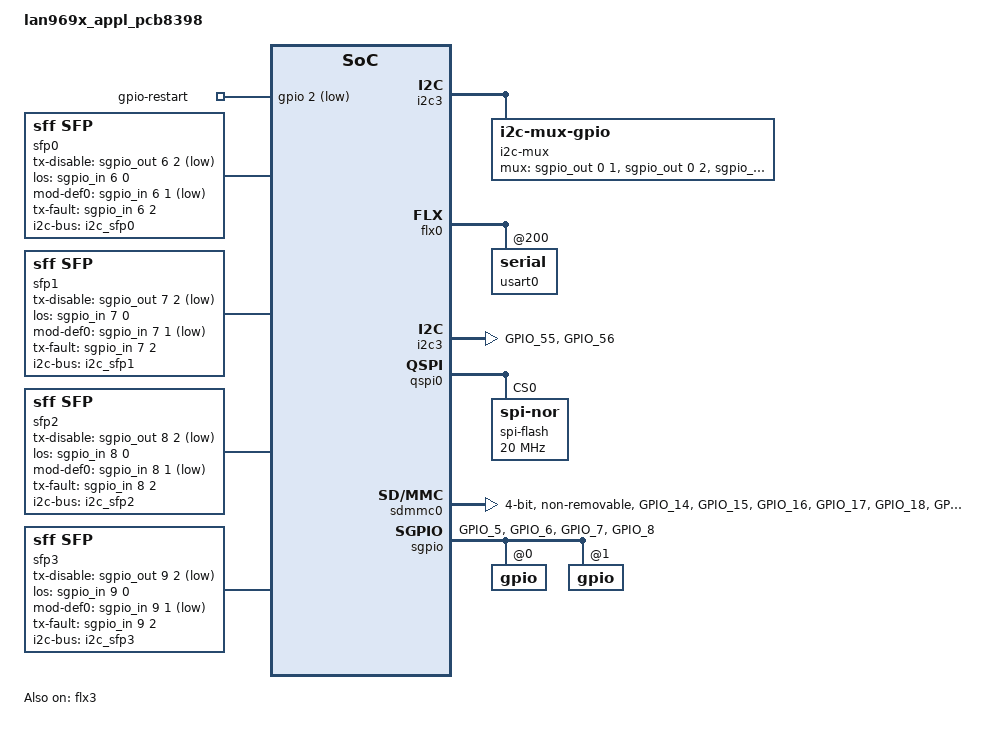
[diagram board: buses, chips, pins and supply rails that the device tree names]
// SPDX-License-Identifier: (GPL-2.0+ OR MIT)

/*
 * Copyright (c) 2022 Microchip Technology Inc. and its subsidiaries.
 */

/dts-v1/;

#include "lan969x.dtsi"

/ {
	model = "lan969x_appl_pcb8398";
	aliases {
		serial0 = &usart0;
	};

	chosen {
		stdout-path = "serial0:115200n8";
	};

	gpio-restart {
		compatible = "gpio-restart";
		gpios = <&gpio 2 GPIO_ACTIVE_LOW>;
		priority = <200>;
	};

	i2c-mux {
		compatible = "i2c-mux-gpio";
		#address-cells = <1>;
		#size-cells = <0>;
		i2c-parent = <&i2c3>;

		mux-gpios = <&sgpio_out 0 1 GPIO_ACTIVE_HIGH
			     &sgpio_out 0 2 GPIO_ACTIVE_HIGH
			     &sgpio_out 0 3 GPIO_ACTIVE_HIGH>;
		idle-state = <0x8>;

		i2c_sfp0: i2c-sfp0 {
			reg = <0x0>;
		};

		i2c_sfp1: i2c-sfp1 {
			reg = <0x1>;
		};

		i2c_sfp2: i2c-sfp2 {
			reg = <0x2>;
		};

		i2c_sfp3: i2c_sfp3 {
			reg = <0x3>;
		};
	};

	sfp0: sfp0 {
		compatible = "sff,sfp";
		i2c-bus = <&i2c_sfp0>;
		tx-disable-gpios = <&sgpio_out 6 2 GPIO_ACTIVE_LOW>;
		los-gpios = <&sgpio_in 6 0 GPIO_ACTIVE_HIGH>;
		mod-def0-gpios = <&sgpio_in 6 1 GPIO_ACTIVE_LOW>;
		tx-fault-gpios = <&sgpio_in 6 2 GPIO_ACTIVE_HIGH>;
	};

	sfp1: sfp1 {
		compatible = "sff,sfp";
		i2c-bus = <&i2c_sfp1>;
		tx-disable-gpios = <&sgpio_out 7 2 GPIO_ACTIVE_LOW>;
		los-gpios = <&sgpio_in 7 0 GPIO_ACTIVE_HIGH>;
		mod-def0-gpios = <&sgpio_in 7 1 GPIO_ACTIVE_LOW>;
		tx-fault-gpios = <&sgpio_in 7 2 GPIO_ACTIVE_HIGH>;
	};

	sfp2: sfp2 {
		compatible = "sff,sfp";
		i2c-bus = <&i2c_sfp2>;
		tx-disable-gpios = <&sgpio_out 8 2 GPIO_ACTIVE_LOW>;
		los-gpios = <&sgpio_in 8 0 GPIO_ACTIVE_HIGH>;
		mod-def0-gpios = <&sgpio_in 8 1 GPIO_ACTIVE_LOW>;
		tx-fault-gpios = <&sgpio_in 8 2 GPIO_ACTIVE_HIGH>;
	};

	sfp3: sfp3 {
		compatible = "sff,sfp";
		i2c-bus = <&i2c_sfp3>;
		tx-disable-gpios = <&sgpio_out 9 2 GPIO_ACTIVE_LOW>;
		los-gpios = <&sgpio_in 9 0 GPIO_ACTIVE_HIGH>;
		mod-def0-gpios = <&sgpio_in 9 1 GPIO_ACTIVE_LOW>;
		tx-fault-gpios = <&sgpio_in 9 2 GPIO_ACTIVE_HIGH>;
	};
};

&flx0 {
	atmel,flexcom-mode = <ATMEL_FLEXCOM_MODE_USART>;
	status = "okay";

	usart0: serial@200 {
		pinctrl-0 = <&fc0_pins>;
		pinctrl-names = "default";
		status = "okay";
	};
};

&flx3 {
	atmel,flexcom-mode = <ATMEL_FLEXCOM_MODE_TWI>;
	status = "okay";

	i2c3: i2c@600 {
		pinctrl-0 = <&fc3_pins>;
		pinctrl-names = "default";
		i2c-analog-filter;
		i2c-digital-filter;
		i2c-digital-filter-width-ns = <35>;
		i2c-sda-hold-time-ns = <1500>;
		status = "okay";
	};
};

&gpio {
	emmc_sd_pins: emmc-sd-pins {
		/* eMMC_SD - CMD, CLK, D0, D1, D2, D3, D4, D5, D6, D7, RSTN */
		pins = "GPIO_14", "GPIO_15", "GPIO_16", "GPIO_17",
		       "GPIO_18", "GPIO_19", "GPIO_20", "GPIO_21",
		       "GPIO_22", "GPIO_23", "GPIO_24";
		function = "emmc_sd";
	};

	fc0_pins: fc0-pins {
		pins = "GPIO_3", "GPIO_4";
		function = "fc";
	};

	fc3_pins: fc3-pins {
		pins = "GPIO_55", "GPIO_56";
		function = "fc";
	};

	sgpio_pins: sgpio-pins {
		/* SCK, D0, D1, LD */
		pins = "GPIO_5", "GPIO_6", "GPIO_7", "GPIO_8";
		function = "sgpio_a";
	};
};

&gpio {
	/delete-property/ interrupts;
	/delete-property/ interrupt-controller;
	/delete-property/ #interrupt-cells;
};

&qspi0 {
	status = "okay";

	spi-flash@0 {
		compatible = "jedec,spi-nor";
		reg = <0>;
		spi-max-frequency = <20000000>;
		#address-cells = <1>;
		#size-cells = <1>;
		spi-tx-bus-width = <4>;
		spi-rx-bus-width = <4>;
		m25p,fast-read;
	};
};

&sdmmc0 {
	pinctrl-0 = <&emmc_sd_pins>;
	pinctrl-names = "default";
	max-frequency = <24000000>;	/* Sunrise limitation */
	/* Disable HS modes */
	sdhci-caps-mask = <0x0 0x00200000>;
	bus-width = <4>;
	non-removable;
	no-1-8-v;
	disable-wp;
	status = "okay";
};

&sgpio {
	pinctrl-0 = <&sgpio_pins>;
	pinctrl-names = "default";

	microchip,sgpio-port-ranges = <0 1>, <6 9>;
	status = "okay";

	gpio@0 {
		ngpios = <128>;
	};
	gpio@1 {
		ngpios = <128>;
	};
};

&uio0 {
	interrupts = <GIC_SPI 17 IRQ_TYPE_LEVEL_HIGH>,
		     <GIC_SPI  8 IRQ_TYPE_LEVEL_HIGH>,
		     <GIC_SPI  9 IRQ_TYPE_LEVEL_HIGH>,
		     <GIC_SPI  7 IRQ_TYPE_LEVEL_HIGH>,
		     <GIC_SPI 16 IRQ_TYPE_LEVEL_HIGH>,
		     <GIC_SPI 15 IRQ_TYPE_LEVEL_HIGH>;
	interrupt-names = "master", "ptp_sync", "ptp_rdy", "oam_vop",
			  "sgpio", "gpio";
};
